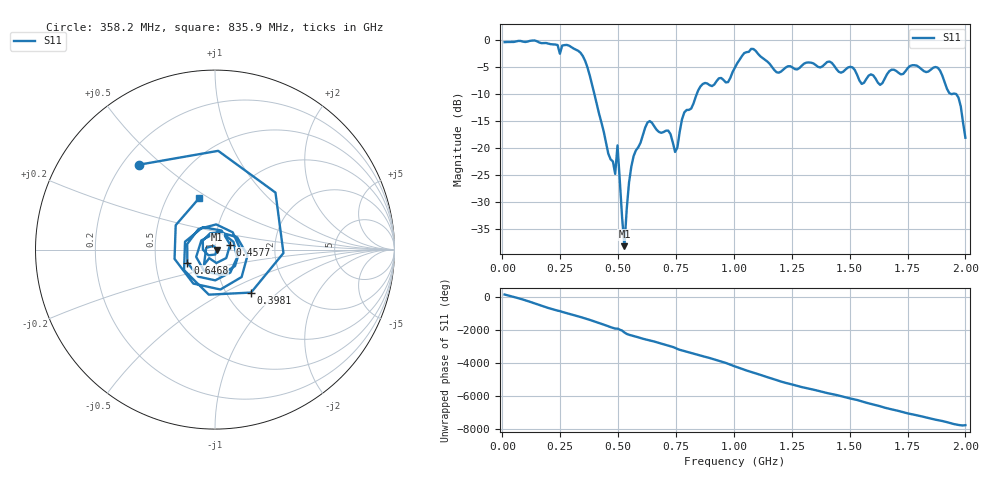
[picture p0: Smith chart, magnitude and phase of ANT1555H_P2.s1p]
!Created with skrf (http://scikit-rf.org).
# Hz S RI R 50.0
!freq ReS11 ImS11
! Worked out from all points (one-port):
!   201 points, 10 MHz to 2 GHz, reference 50 ohm
!   lowest |S11| = -38.1 dB at 527.4 MHz (marker M1), VSWR 1.03, Z = 51.3 + j0.00172 ohm
!   |S11| at or under -10 dB: 397.4 MHz to 840.3 MHz (442.8 MHz wide, 71.6 % of centre); 1.936775 GHz to 1.946437 GHz (9.662 MHz wide, 0.498 % of centre); 1.956 GHz to end of sweep
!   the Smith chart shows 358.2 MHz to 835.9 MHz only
!   S11 on the Smith chart (normalised r, x): 358.2 MHz: 0.27, +0.42; 398.1 MHz: 1.30, -0.69; 457.8 MHz: 1.18, +0.07; 646.8 MHz: 0.73, -0.11; 835.9 MHz: 0.72, +0.45
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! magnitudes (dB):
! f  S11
! 10 MHz  -0.5
! 258.8 MHz  -1.1
! 358.2 MHz  -4.0
! 398.1 MHz  -10.1
! 457.8 MHz  -21.0
! 487.6 MHz  -24.8
! 497.6 MHz  -19.5
! 507.5 MHz  -26.0
! 527.4 MHz  -38.1
! 547.3 MHz  -26.4
! 567.2 MHz  -21.5
! 646.8 MHz  -15.4
! 756.2 MHz  -19.9
! 786.1 MHz  -13.4
! 835.9 MHz  -10.5
! 975.1 MHz  -7.8
! 1.005 GHz  -5.2
! 1.075 GHz  -1.7
! 1.184 GHz  -6.0
! 1.254 GHz  -5.2
! 1.502 GHz  -5.0
! 1.552 GHz  -8.2
! 1.592 GHz  -6.4
! 1.632 GHz  -8.4
! 1.751 GHz  -5.2
! 1.881 GHz  -5.2
! 1.97 GHz  -10.7
! 2 GHz  -18.1
